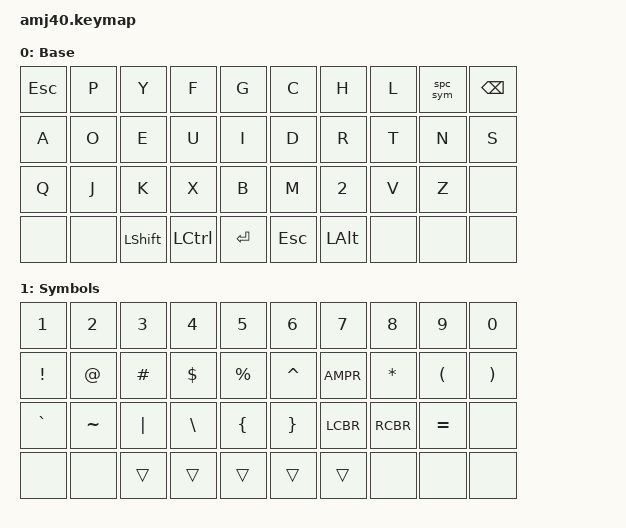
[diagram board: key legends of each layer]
/* Archivo: amj40.keymap */

#include <behaviors.dtsi>
#include <dt-bindings/zmk/keys.h>
#include <dt-bindings/zmk/bt.h>

/* --- CAPA 0: BASE (QWERTY) --- */
#define BASE 0
#define SYMBOLS 1 // Damos un nombre a la capa 1 para que sea más fácil de leer

/ {
    // --- COMPORTAMIENTOS PERSONALIZADOS (Behaviors) ---
    // Aquí definimos nuestros activadores de capa.
    behaviors {
        // Creamos un comportamiento "hold-tap" para la tecla de espacio.
        // Tap: envía ESPACIO. Hold: activa la capa SYMBOLS.
        spc_sym: space_symbols {
            compatible = "zmk,behavior-hold-tap";
            label = "SPACE_OR_SYMBOLS";
            #binding-cells = <0>;
            tapping-term-ms = <280>; // Tiempo en ms para decidir si es tap o hold.
            flavor = "tap-preferred"; // Prefiere "tap" si la acción es ambigua.
            bindings = <&kp>, <&mo>; // <tap_action>, <hold_action>
        };
    };

    // --- MAPA DE TECLAS (Keymap) ---
    keymap {
        compatible = "zmk,keymap";

        /* --- CAPA 0: BASE (QWERTY) --- */
        base_layer {
            label = "Base";
            bindings = <
/* Col 0  Col 1  Col 2  Col 3  Col 4  Col 5  Col 6  Col 7  Col 8  Col 9 */
&kp ESC &kp P    &kp Y    &kp F    &kp G    &kp C    &kp H    &kp L    &spc_sym &kp BSPC
&kp A    &kp O    &kp E    &kp U    &kp I    &kp D    &kp R    &kp T    &kp N    &kp S
&kp Q    &kp J    &kp K    &kp X    &kp B    &kp M    &kp 2    &kp V    &kp Z    &none
&none    &none    &kp LSHFT &kp LCTRL &kp ENTER  &kp ESC  &kp LALT  &none    &none    &none // ¡Aquí usamos nuestro behavior!
            >;
        };

        /* --- CAPA 1: SÍMBOLOS Y NÚMEROS --- */
        symbols_layer {
            label = "Symbols";
            bindings = <
/* Col 0  Col 1  Col 2  Col 3  Col 4  Col 5  Col 6  Col 7  Col 8  Col 9 */
&kp N1   &kp N2   &kp N3   &kp N4   &kp N5   &kp N6   &kp N7   &kp N8   &kp N9   &kp N0
&kp EXCL &kp AT   &kp HASH &kp DLLR &kp PRCNT &kp CARET &kp AMPR &kp ASTRK &kp LPAR &kp RPAR
&kp GRAVE &kp TILDE &kp PIPE &kp BSLH &kp LBRC &kp RBRC &kp LCBR &kp RCBR &kp EQUAL &none
&none    &none    &trans    &trans    &trans    &trans    &trans    &none    &none    &none
            >;
        };
    };
};
/* En tu symbols_layer dentro de amj40.keymap */

        symbols_layer {
            label = "Symbols";
            bindings = <
/* Col 0        Col 1        Col 2        Col 3        Col 4        Col 5        Col 6        Col 7        Col 8        Col 9 */
&rgb_ug_tog    &rgb_ug_brd  &rgb_ug_bri  &none        &none        &none        &none        &none        &none        &none
&rgb_ug_eff    &rgb_ug_efs  &none        &none        &none        &none        &none        &none        &none        &none
&rgb_ug_hued   &rgb_ug_huei &rgb_ug_satd &rgb_ug_sati &none        &none        &none        &none        &none        &none
&trans         &trans       &trans       &trans       &trans       &trans       &trans       &none        &none        &none
            >;
        };
